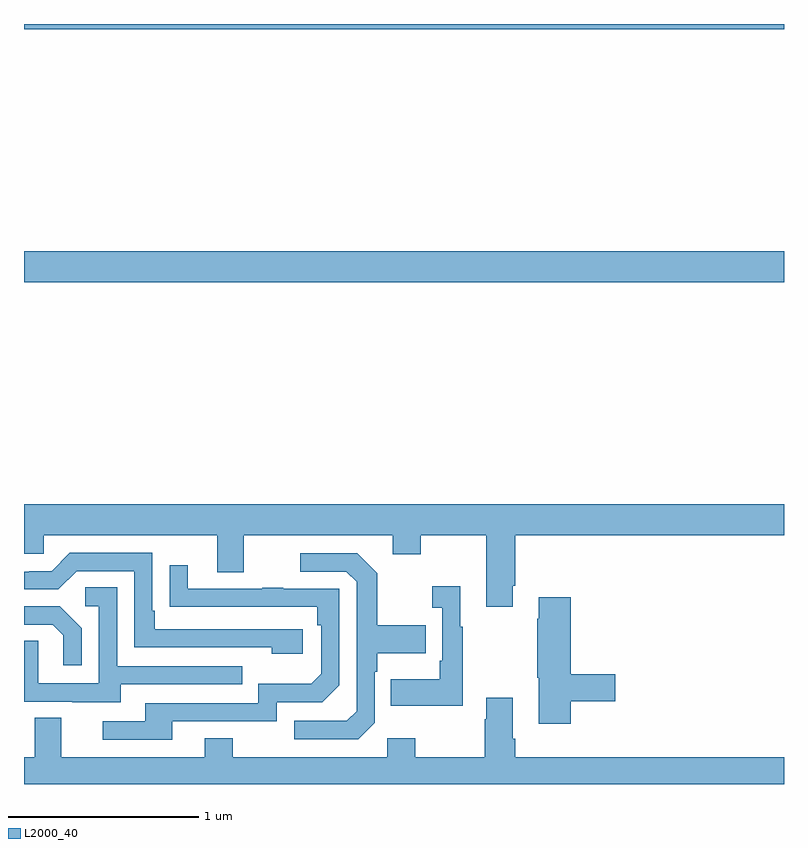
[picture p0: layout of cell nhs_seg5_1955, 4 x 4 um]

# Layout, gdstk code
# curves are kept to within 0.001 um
import gdstk
lib = gdstk.Library(unit=1e-6, precision=1e-09)
def R(c, l, rs):  # rectangles x0, y0, x1, y1
    for r in rs: c.add(gdstk.rectangle(r[:2], r[2:], *l))
def P(c, l, *ps):  # polygons
    for p in ps: c.add(gdstk.Polygon(p, *l))
L2000_40 = (2000, 40)

nhs_seg5_1955 = lib.new_cell('nhs_seg5_1955')
R(nhs_seg5_1955, L2000_40, [(227,843.44,231,843.604), (227,844.772,231,844.799)])
P(nhs_seg5_1955, L2000_40, [(229.573,841.843),(229.586,841.843),(229.586,842.108),(231,842.108),(231,842.272),(227,842.272),(227,842.01),(227.103,842.01),(227.103,842.108),(228.017,842.108),(228.017,841.914),(228.157,841.914),(228.157,842.108),(228.941,842.108),(228.941,842.009),(229.089,842.009),(229.089,842.108),(229.433,842.108),(229.433,841.731),(229.573,841.731)],
  [(228.466,841.614),(227.689,841.614),(227.689,841.711),(227.676,841.711),(227.676,842.016),(227.241,842.016),(227.145,841.92),(227.027,841.92),(227.027,841.917),(227,841.917),(227,841.824),(227.181,841.824),(227.277,841.92),(227.58,841.92),(227.58,841.518),(228.305,841.518),(228.305,841.484),(228.466,841.484)],
  [(228.846,841.122),(228.846,841.391),(228.859,841.391),(228.859,841.487),(229.115,841.487),(229.115,841.635),(228.859,841.635),(228.859,841.907),(228.753,842.013),(228.453,842.013),(228.453,841.917),(228.696,841.917),(228.75,841.863),(228.75,841.182),(228.699,841.131),(228.423,841.131),(228.423,841.035),(228.759,841.035)],
  [(227.779,841.128),(228.33,841.128),(228.33,841.23),(228.57,841.23),(228.66,841.32),(228.66,841.827),(228.365,841.827),(228.365,841.832),(228.253,841.832),(228.253,841.827),(227.863,841.827),(227.863,841.951),(227.767,841.951),(227.767,841.732),(228.544,841.731),(228.544,841.634),(228.564,841.634),(228.564,841.38),(228.511,841.327),(228.234,841.327),(228.234,841.224),(227.639,841.224),(227.639,841.128),(227.415,841.128),(227.415,841.032),(227.779,841.032)],
  [(229.309,841.627),(229.297,841.627),(229.297,841.84),(229.149,841.84),(229.149,841.727),(229.2,841.727),(229.2,841.447),(229.188,841.447),(229.188,841.351),(228.931,841.351),(228.931,841.211),(229.309,841.211)],
  [(227.509,841.323),(228.149,841.323),(228.149,841.419),(227.49,841.419),(227.49,841.835),(227.322,841.835),(227.322,841.734),(227.394,841.734),(227.394,841.329),(227.076,841.329),(227.076,841.553),(227,841.553),(227,841.233),(227.255,841.233),(227.255,841.229),(227.509,841.229)],
  [(229.877,841.234),(230.113,841.234),(230.113,841.376),(229.877,841.376),(229.877,841.783),(229.709,841.783),(229.709,841.67),(229.702,841.67),(229.702,841.359),(229.709,841.359),(229.709,841.116),(229.877,841.116)],
  [(227.304,841.618),(227.188,841.734),(227,841.734),(227,841.638),(227.15,841.638),(227.207,841.581),(227.207,841.425),(227.304,841.425)],
  [(231,840.94),(229.586,840.94),(229.586,841.036),(229.573,841.036),(229.573,841.252),(229.433,841.252),(229.433,841.139),(229.426,841.139),(229.426,840.94),(229.059,840.94),(229.059,841.039),(228.912,841.039),(228.912,840.94),(228.099,840.94),(228.099,841.039),(227.951,841.039),(227.951,840.94),(227.197,840.94),(227.197,841.148),(227.057,841.148),(227.057,840.94),(227,840.94),(227,840.799),(231,840.799)])

lib.write_gds('nhs_seg5_1955.gds')
